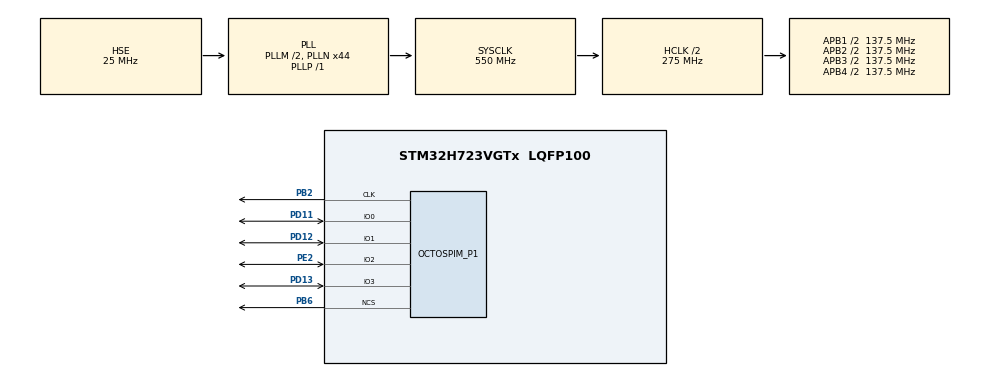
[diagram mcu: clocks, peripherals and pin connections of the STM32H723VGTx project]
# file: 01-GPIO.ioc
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Mcu.Family=STM32H7
Mcu.Name=STM32H723VGTx
Mcu.Package=LQFP100
NVIC.PriorityGroup=NVIC_PRIORITYGROUP_4
OCTOSPI1.ClockPrescaler=3
OCTOSPI1.DelayHoldQuarterCycle=HAL_OSPI_DHQC_DISABLE
OCTOSPI1.DeviceSize=23
OCTOSPI1.FifoThreshold=8
OCTOSPI1.SampleShifting=HAL_OSPI_SAMPLE_SHIFTING_HALFCYCLE
PA13(JTMS/SWDIO).Mode=Serial_Wire
PA13(JTMS/SWDIO).Signal=DEBUG_JTMS-SWDIO
PA14(JTCK/SWCLK).Mode=Serial_Wire
PA14(JTCK/SWCLK).Signal=DEBUG_JTCK-SWCLK
PB2.Mode=O1_P1_CLK
PB2.Signal=OCTOSPIM_P1_CLK
PB6.Mode=OCTOSPI1_Port1_NCS
PB6.Signal=OCTOSPIM_P1_NCS
PC14-OSC32_IN.Mode=LSE-External-Oscillator
PC14-OSC32_IN.Signal=RCC_OSC32_IN
PC15-OSC32_OUT.Mode=LSE-External-Oscillator
PC15-OSC32_OUT.Signal=RCC_OSC32_OUT
PD11.Mode=OCTOSPI1_IOL_Port1L
PD11.Signal=OCTOSPIM_P1_IO0
PD12.Mode=OCTOSPI1_IOL_Port1L
PD12.Signal=OCTOSPIM_P1_IO1
PD13.Mode=OCTOSPI1_IOL_Port1L
PD13.Signal=OCTOSPIM_P1_IO3
PE2.Mode=OCTOSPI1_IOL_Port1L
PE2.Signal=OCTOSPIM_P1_IO2
PH0-OSC_IN.Mode=HSE-External-Oscillator
PH0-OSC_IN.Signal=RCC_OSC_IN
PH1-OSC_OUT.Mode=HSE-External-Oscillator
PH1-OSC_OUT.Signal=RCC_OSC_OUT
ProjectManager.HeapSize=0x200
ProjectManager.StackSize=0x400
ProjectManager.TargetToolchain=MDK-ARM V5.32
RCC.ADCFreq_Value=50390625
RCC.APB1Freq_Value=137500000
RCC.APB2Freq_Value=137500000
RCC.APB3Freq_Value=137500000
RCC.APB4Freq_Value=137500000
RCC.CortexFreq_Value=550000000
RCC.D1PPRE=RCC_APB3_DIV2
RCC.D2PPRE1=RCC_APB1_DIV2
RCC.D2PPRE2=RCC_APB2_DIV2
RCC.D3PPRE=RCC_APB4_DIV2
RCC.DIVM1=2
RCC.DIVN1=44
RCC.DIVP1=1
RCC.HCLKFreq_Value=275000000
RCC.HPRE=RCC_HCLK_DIV2
RCC.PLLFRACN=0
RCC.PLLSourceVirtual=RCC_PLLSOURCE_HSE
RCC.SYSCLKFreq_VALUE=550000000
RCC.SYSCLKSource=RCC_SYSCLKSOURCE_PLLCLK
RCC.USBFreq_Value=275000000
VP_OCTOSPI1_VS_quad.Mode=quad_mode
VP_RNG_VS_RNG.Mode=RNG_Activate
board=custom

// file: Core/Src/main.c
/* USER CODE BEGIN Header */

/*---------------------------------------
- WeAct Studio Official Link
- taobao: weactstudio.taobao.com
- aliexpress: weactstudio.aliexpress.com
- github: github.com/WeActStudio
- gitee: gitee.com/WeActStudio
- blog: blog.weactstudio.com
---------------------------------------*/

/**
  ******************************************************************************
  * @file           : main.c
  * @brief          : Main program body
  ******************************************************************************
  * @attention
  *
  * Copyright (c) 2023 STMicroelectronics.
  * All rights reserved.
  *
  * This software is licensed under terms that can be found in the LICENSE file
  * in the root directory of this software component.
  * If no LICENSE file comes with this software, it is provided AS-IS.
  *
  ******************************************************************************
  */
/* USER CODE END Header */
#include "main.h"
#include "octospi.h"
#include "rng.h"
#include "gpio.h"

/* USER CODE BEGIN Includes */
#include "board.h"
#include "w25qxx_ospi.h"
/* USER CODE END Includes */

void SystemClock_Config(void);

/* USER CODE BEGIN 0 */
// board.c also run in ospi flash !!
void run_in_ospi_test(void) __attribute__((section(".ARM.__at_0x90000000")));
void run_in_ospi_test(void)
{
	board_led_set(1);
	HAL_Delay(50);
	board_led_set(0);
	HAL_Delay(500);
	board_led_set(1);
	HAL_Delay(50);
	board_led_set(0);
	HAL_Delay(500);
	board_led_set(1);
	HAL_Delay(50);
	board_led_set(0);
	HAL_Delay(1000);
}

static void CPU_CACHE_Enable(void)
{
  /* Enable I-Cache */
  SCB_EnableICache();

  /* Enable D-Cache */
  SCB_EnableDCache();
}

static void MPU_Config(void)
{
  MPU_Region_InitTypeDef MPU_InitStruct = {0};

  /* Disables the MPU */
  HAL_MPU_Disable();

  /* Configure the MPU attributes for the QSPI 256MB without instruction access */
  MPU_InitStruct.Enable           = MPU_REGION_ENABLE;
  MPU_InitStruct.Number           = MPU_REGION_NUMBER0;
  MPU_InitStruct.BaseAddress      = OCTOSPI1_BASE;
  MPU_InitStruct.Size             = MPU_REGION_SIZE_256MB;
  MPU_InitStruct.AccessPermission = MPU_REGION_NO_ACCESS;
  MPU_InitStruct.IsBufferable     = MPU_ACCESS_NOT_BUFFERABLE;
  MPU_InitStruct.IsCacheable      = MPU_ACCESS_NOT_CACHEABLE;
  MPU_InitStruct.IsShareable      = MPU_ACCESS_NOT_SHAREABLE;
  MPU_InitStruct.DisableExec      = MPU_INSTRUCTION_ACCESS_DISABLE;
  MPU_InitStruct.TypeExtField     = MPU_TEX_LEVEL1;
  MPU_InitStruct.SubRegionDisable = 0x00;
  HAL_MPU_ConfigRegion(&MPU_InitStruct);

  /* Configure the MPU attributes for the QSPI 8MB (QSPI Flash Size) to Cacheable WT */
  MPU_InitStruct.Enable           = MPU_REGION_ENABLE;
  MPU_InitStruct.Number           = MPU_REGION_NUMBER1;
  MPU_InitStruct.BaseAddress      = OCTOSPI1_BASE;
  MPU_InitStruct.Size             = MPU_REGION_SIZE_8MB;
  MPU_InitStruct.AccessPermission = MPU_REGION_PRIV_RO;
  MPU_InitStruct.IsBufferable     = MPU_ACCESS_BUFFERABLE;
  MPU_InitStruct.IsCacheable      = MPU_ACCESS_CACHEABLE;
  MPU_InitStruct.IsShareable      = MPU_ACCESS_NOT_SHAREABLE;
  MPU_InitStruct.DisableExec      = MPU_INSTRUCTION_ACCESS_ENABLE;
  MPU_InitStruct.TypeExtField     = MPU_TEX_LEVEL1;
  MPU_InitStruct.SubRegionDisable = 0x00;
  HAL_MPU_ConfigRegion(&MPU_InitStruct);

  /* Setup AXI SRAM in Cacheable WB */
  MPU_InitStruct.Enable           = MPU_REGION_ENABLE;
  MPU_InitStruct.BaseAddress      = D1_AXISRAM_BASE;
  MPU_InitStruct.Size             = MPU_REGION_SIZE_512KB;
  MPU_InitStruct.AccessPermission = MPU_REGION_FULL_ACCESS;
  MPU_InitStruct.IsBufferable     = MPU_ACCESS_BUFFERABLE;
  MPU_InitStruct.IsCacheable      = MPU_ACCESS_CACHEABLE;
  MPU_InitStruct.IsShareable      = MPU_ACCESS_SHAREABLE;
  MPU_InitStruct.Number           = MPU_REGION_NUMBER2;
  MPU_InitStruct.TypeExtField     = MPU_TEX_LEVEL1;
  MPU_InitStruct.SubRegionDisable = 0x00;
  MPU_InitStruct.DisableExec      = MPU_INSTRUCTION_ACCESS_ENABLE;
  HAL_MPU_ConfigRegion(&MPU_InitStruct);

  /* Enables the MPU */
  HAL_MPU_Enable(MPU_PRIVILEGED_DEFAULT);
}
/* USER CODE END 0 */

int main(void)
{
  /* USER CODE BEGIN 1 */
	uint32_t tick,tick_now;

	CPU_CACHE_Enable();
	MPU_Config();

  /* USER CODE END 1 */

  /* MCU Configuration--------------------------------------------------------*/

  /* Reset of all peripherals, Initializes the Flash interface and the Systick. */
  HAL_Init();

  /* Configure the system clock */
  SystemClock_Config();

  /* Initialize all configured peripherals */
  MX_GPIO_Init();
  MX_RNG_Init();
  MX_OCTOSPI1_Init();
  /* USER CODE BEGIN 2 */
	OSPI_NOR_Init();
	OSPI_NOR_EnableSTRMemoryMappedMode();

  board_button_init();
  board_led_init();

	run_in_ospi_test();

  tick = HAL_GetTick() + 200;
  tick_now = HAL_GetTick();

	uint32_t rng;
  /* USER CODE END 2 */

  /* Infinite loop */
  while (1)
  {

    /* USER CODE BEGIN 3 */
	tick_now = HAL_GetTick();
    if(board_button_getstate())
    {
      if(tick_now >= tick)
      {
        tick = tick_now + 200;
        board_led_toggle();
      }
    }
    else
    {
      if(tick_now >= tick)
      {
				HAL_RNG_GenerateRandomNumber(&hrng,&rng);
        tick = tick_now + rng%600;
        board_led_toggle();
      }
    }
  }
  /* USER CODE END 3 */
}

void SystemClock_Config(void)
{
  RCC_OscInitTypeDef RCC_OscInitStruct = {0};
  RCC_ClkInitTypeDef RCC_ClkInitStruct = {0};

  /** Supply configuration update enable
  */
  HAL_PWREx_ConfigSupply(PWR_LDO_SUPPLY);

  /** Configure the main internal regulator output voltage
  */
  __HAL_PWR_VOLTAGESCALING_CONFIG(PWR_REGULATOR_VOLTAGE_SCALE0);

  while(!__HAL_PWR_GET_FLAG(PWR_FLAG_VOSRDY)) {}

  /** Initializes the RCC Oscillators according to the specified parameters
  * in the RCC_OscInitTypeDef structure.
  */
  RCC_OscInitStruct.OscillatorType = RCC_OSCILLATORTYPE_HSI48|RCC_OSCILLATORTYPE_HSE;
  RCC_OscInitStruct.HSEState = RCC_HSE_ON;
  RCC_OscInitStruct.HSI48State = RCC_HSI48_ON;
  RCC_OscInitStruct.PLL.PLLState = RCC_PLL_ON;
  RCC_OscInitStruct.PLL.PLLSource = RCC_PLLSOURCE_HSE;
  RCC_OscInitStruct.PLL.PLLM = 2;
  RCC_OscInitStruct.PLL.PLLN = 44;
  RCC_OscInitStruct.PLL.PLLP = 1;
  RCC_OscInitStruct.PLL.PLLQ = 2;
  RCC_OscInitStruct.PLL.PLLR = 2;
  RCC_OscInitStruct.PLL.PLLRGE = RCC_PLL1VCIRANGE_3;
  RCC_OscInitStruct.PLL.PLLVCOSEL = RCC_PLL1VCOWIDE;
  RCC_OscInitStruct.PLL.PLLFRACN = 0;
  if (HAL_RCC_OscConfig(&RCC_OscInitStruct) != HAL_OK)
  {
    Error_Handler();
  }

  /** Initializes the CPU, AHB and APB buses clocks
  */
  RCC_ClkInitStruct.ClockType = RCC_CLOCKTYPE_HCLK|RCC_CLOCKTYPE_SYSCLK
                              |RCC_CLOCKTYPE_PCLK1|RCC_CLOCKTYPE_PCLK2
                              |RCC_CLOCKTYPE_D3PCLK1|RCC_CLOCKTYPE_D1PCLK1;
  RCC_ClkInitStruct.SYSCLKSource = RCC_SYSCLKSOURCE_PLLCLK;
  RCC_ClkInitStruct.SYSCLKDivider = RCC_SYSCLK_DIV1;
  RCC_ClkInitStruct.AHBCLKDivider = RCC_HCLK_DIV2;
  RCC_ClkInitStruct.APB3CLKDivider = RCC_APB3_DIV2;
  RCC_ClkInitStruct.APB1CLKDivider = RCC_APB1_DIV2;
  RCC_ClkInitStruct.APB2CLKDivider = RCC_APB2_DIV2;
  RCC_ClkInitStruct.APB4CLKDivider = RCC_APB4_DIV2;

  if (HAL_RCC_ClockConfig(&RCC_ClkInitStruct, FLASH_LATENCY_3) != HAL_OK)
  {
    Error_Handler();
  }
}

void Error_Handler(void)
{
  __disable_irq();
  while (1)
  {
  }
}
